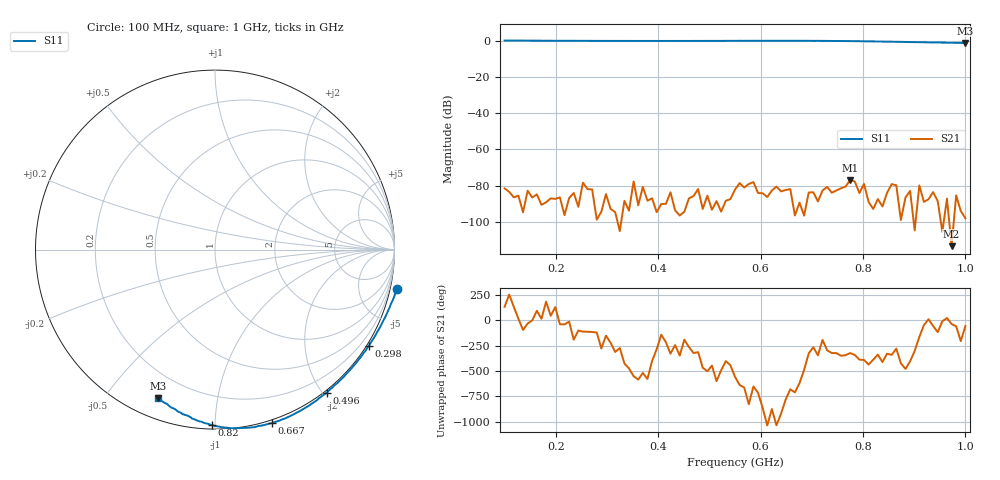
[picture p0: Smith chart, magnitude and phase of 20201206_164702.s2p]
# HZ S RI R 50
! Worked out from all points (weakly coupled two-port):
!   101 points, 100 MHz to 1 GHz, reference 50 ohm
!   highest |S21| = -76.85 dB at 775 MHz (marker M1); lowest = -113.5 dB at 973 MHz (marker M2)
!   lowest |S11| = -1.1 dB at 1 GHz (marker M3), VSWR 16.44, Z = 4.48 - j34.2 ohm
!   |S11| at or under -10 dB: nowhere
!   S12 and S22 are empty: the file has one direction only
!   S11 on the Smith chart (normalised r, x): 100 MHz: -1.65, -9.08; 298 MHz: -0.07, -3.48; 496 MHz: -0.03, -2.05; 667 MHz: -0.02, -1.38; 820 MHz: 0.02, -0.98; 1 GHz: 0.09, -0.68
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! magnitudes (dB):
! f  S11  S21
! 100 MHz  0.3  -81.6
! 244 MHz  0.1  -91.7
! 253 MHz  0.1  -78.4
! 262 MHz  0.1  -81.9
! 298 MHz  0.1  -84.7
! 343 MHz  0.1  -93.9
! 352 MHz  0.1  -77.7
! 361 MHz  0.1  -90.9
! 406 MHz  0.1  -90.2
! 496 MHz  0.1  -85.6
! 550 MHz  0.1  -82.2
! 586 MHz  0.1  -78.0
! 595 MHz  0.1  -84.1
! 667 MHz  0.1  -96.5
! 703 MHz  0.1  -83.7
! 766 MHz  0.0  -80.6
! 775 MHz  0.0  -76.8
! 793 MHz  -0.1  -84.1
! 820 MHz  -0.2  -92.9
! 856 MHz  -0.4  -79.2
! 973 MHz  -0.9  -113.5
! 1 GHz  -1.1  -98.1
